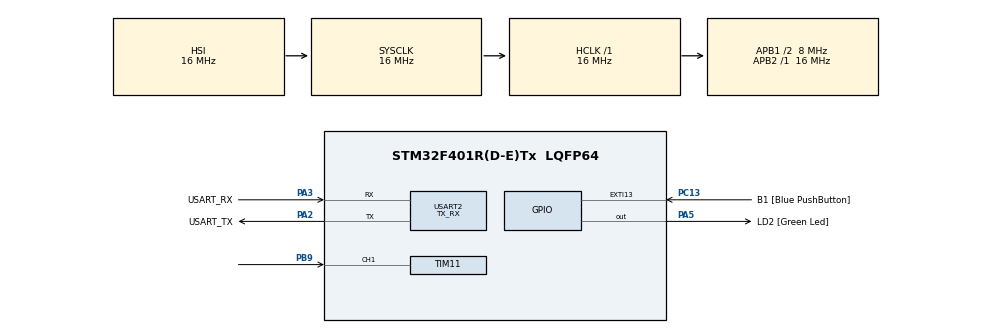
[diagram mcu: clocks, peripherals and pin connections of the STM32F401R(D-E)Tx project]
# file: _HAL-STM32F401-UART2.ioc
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Mcu.Family=STM32F4
Mcu.Name=STM32F401R(D-E)Tx
Mcu.Package=LQFP64
NVIC.PriorityGroup=NVIC_PRIORITYGROUP_0
PA13.GPIO_Label=TMS
PA13.Mode=Serial_Wire
PA13.Signal=SYS_JTMS-SWDIO
PA14.GPIO_Label=TCK
PA14.Mode=Serial_Wire
PA14.Signal=SYS_JTCK-SWCLK
PA2.GPIO_Label=USART_TX
PA2.GPIO_Mode=GPIO_MODE_AF_PP
PA2.GPIO_PuPd=GPIO_NOPULL
PA2.GPIO_Speed=GPIO_SPEED_FREQ_LOW
PA2.Mode=Asynchronous
PA2.Signal=USART2_TX
PA3.GPIO_Label=USART_RX
PA3.GPIO_Mode=GPIO_MODE_AF_PP
PA3.GPIO_PuPd=GPIO_NOPULL
PA3.GPIO_Speed=GPIO_SPEED_FREQ_LOW
PA3.Mode=Asynchronous
PA3.Signal=USART2_RX
PA5.GPIO_Label=LD2 [Green Led]
PA5.GPIO_Mode=GPIO_MODE_OUTPUT_PP
PA5.GPIO_PuPd=GPIO_NOPULL
PA5.GPIO_Speed=GPIO_SPEED_FREQ_LOW
PA5.Signal=GPIO_Output
PB3.GPIO_Label=SWO
PB3.Signal=SYS_JTDO-SWO
PB9.Signal=S_TIM11_CH1
PC13-ANTI_TAMP.GPIO_Label=B1 [Blue PushButton]
PC13-ANTI_TAMP.GPIO_ModeDefaultEXTI=GPIO_MODE_IT_FALLING
PC13-ANTI_TAMP.GPIO_PuPd=GPIO_NOPULL
PC13-ANTI_TAMP.Signal=GPXTI13
PC14-OSC32_IN.Mode=LSE-External-Oscillator
PC14-OSC32_IN.Signal=RCC_OSC32_IN
PC15-OSC32_OUT.Mode=LSE-External-Oscillator
PC15-OSC32_OUT.Signal=RCC_OSC32_OUT
PH0\ -\ OSC_IN.Signal=RCC_OSC_IN
PH1\ -\ OSC_OUT.Signal=RCC_OSC_OUT
ProjectManager.HeapSize=0x200
ProjectManager.StackSize=0x400
ProjectManager.TargetToolchain=STM32CubeIDE
RCC.48MHZClocksFreq_Value=48000000
RCC.AHBFreq_Value=16000000
RCC.APB1CLKDivider=RCC_HCLK_DIV2
RCC.APB1Freq_Value=8000000
RCC.APB1TimFreq_Value=16000000
RCC.APB2Freq_Value=16000000
RCC.APB2TimFreq_Value=16000000
RCC.CortexFreq_Value=16000000
RCC.HCLKFreq_Value=16000000
RCC.HSE_VALUE=8000000
RCC.HSI_VALUE=16000000
RCC.PLLN=336
RCC.PLLP=RCC_PLLP_DIV4
RCC.PLLQ=7
RCC.SYSCLKFreq_VALUE=16000000
RCC.VCOOutputFreq_Value=336000000
SH.S_TIM11_CH1.0=TIM11_CH1,Input_Capture1_from_TI1
TIM11.Channel=TIM_CHANNEL_1
USART2.Mode=MODE_TX_RX
USART2.VirtualMode=VM_ASYNC
VP_TIM11_VS_ClockSourceINT.Mode=Enable_Timer
board=NUCLEO-F401RE

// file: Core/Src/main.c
/* USER CODE BEGIN Header */
/**
  ******************************************************************************
  * @file           : main.c
  * @brief          : Main program body
  ******************************************************************************
  * @attention
  *
  * Copyright (c) 2023 STMicroelectronics.
  * All rights reserved.
  *
  * This software is licensed under terms that can be found in the LICENSE file
  * in the root directory of this software component.
  * If no LICENSE file comes with this software, it is provided AS-IS.
  *
  ******************************************************************************
  */
/* USER CODE END Header */
#include "main.h"
#include "tim.h"

/* USER CODE BEGIN Includes */
#include <string.h> // to use strlen function
#include "usart.h"

/* USER CODE END Includes */

/* USER CODE BEGIN PV */
char *user_data = "The application is running\r\n";
/* USER CODE END PV */

void SystemClock_Config(void);

/* USER CODE BEGIN 0 */
uint8_t convert_to_capital(uint8_t data){
	if (data >= 'a' && data <= 'z'){ // this means is lower case
		data = data - ('a'-'A');
	}
	return data;
}
/* USER CODE END 0 */

int main(void)
{

  /* MCU Configuration--------------------------------------------------------*/

  /* Reset of all peripherals, Initializes the Flash interface and the Systick. */
  HAL_Init();

  /* Initialize all configured peripherals */
  MX_TIM11_Init();
  /* USER CODE BEGIN 2 */
  MX_USART2_UART_Init();

  // PART I
  HAL_UART_Transmit(&huart2, (uint8_t*)user_data, (uint16_t)strlen(user_data), HAL_MAX_DELAY);
  // HAL_MAX_DELAY : How long blocking code should way until timeout

  // PART II and III
  uint8_t rcvd_data;
  uint8_t data_buffer[100];
  uint32_t count =0;
  while(1){
	  HAL_UART_Receive(&huart2, &rcvd_data, 1, HAL_MAX_DELAY); // Reads 1 byte
	  if(rcvd_data == '\r'){ //\r == enter
		  break;
	  } else {
		  data_buffer[count++]= convert_to_capital(rcvd_data);
	  }
  }
  data_buffer[count++]= '\r'; // to add carriage return
  HAL_UART_Transmit(&huart2, data_buffer, count, HAL_MAX_DELAY);

  /* USER CODE END 2 */

  /* Infinite loop */
  while (1)
  {

  }
}

void SystemClock_Config(void)
{
  RCC_OscInitTypeDef RCC_OscInitStruct = {0};
  RCC_ClkInitTypeDef RCC_ClkInitStruct = {0};

  /** Configure the main internal regulator output voltage
  */
  __HAL_RCC_PWR_CLK_ENABLE();
  __HAL_PWR_VOLTAGESCALING_CONFIG(PWR_REGULATOR_VOLTAGE_SCALE2);

  /** Initializes the RCC Oscillators according to the specified parameters
  * in the RCC_OscInitTypeDef structure.
  */
  RCC_OscInitStruct.OscillatorType = RCC_OSCILLATORTYPE_HSI;
  RCC_OscInitStruct.HSIState = RCC_HSI_ON;
  RCC_OscInitStruct.HSICalibrationValue = RCC_HSICALIBRATION_DEFAULT;
  RCC_OscInitStruct.PLL.PLLState = RCC_PLL_NONE;
  if (HAL_RCC_OscConfig(&RCC_OscInitStruct) != HAL_OK)
  {
    Error_Handler();
  }

  /** Initializes the CPU, AHB and APB buses clocks
  */
  RCC_ClkInitStruct.ClockType = RCC_CLOCKTYPE_HCLK|RCC_CLOCKTYPE_SYSCLK
                              |RCC_CLOCKTYPE_PCLK1|RCC_CLOCKTYPE_PCLK2;
  RCC_ClkInitStruct.SYSCLKSource = RCC_SYSCLKSOURCE_HSI;
  RCC_ClkInitStruct.AHBCLKDivider = RCC_SYSCLK_DIV1;
  RCC_ClkInitStruct.APB1CLKDivider = RCC_HCLK_DIV2;
  RCC_ClkInitStruct.APB2CLKDivider = RCC_HCLK_DIV1;

  if (HAL_RCC_ClockConfig(&RCC_ClkInitStruct, FLASH_LATENCY_0) != HAL_OK)
  {
    Error_Handler();
  }
}

void Error_Handler(void)
{
  __disable_irq();
  while (1)
  {
  }
}
